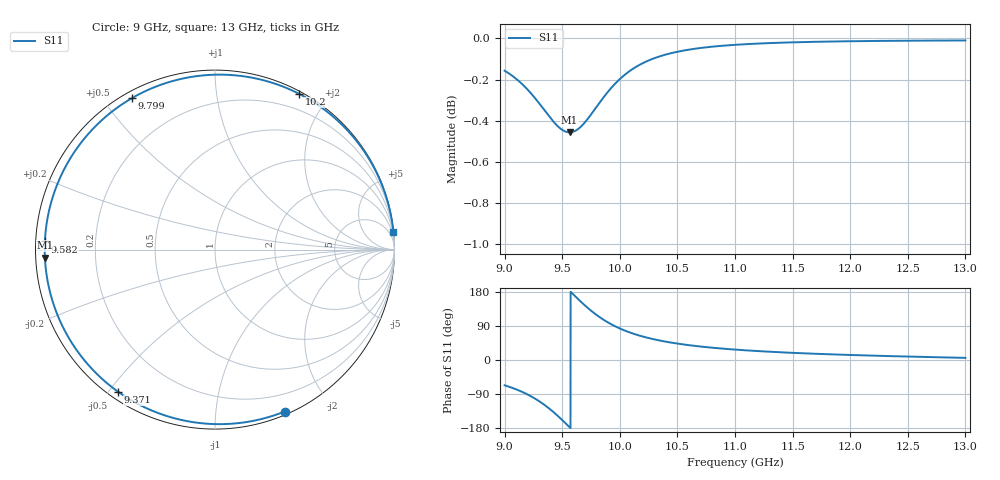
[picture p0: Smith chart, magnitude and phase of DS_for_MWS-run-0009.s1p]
! TOUCHSTONE file generated by CST DESIGN STUDIO
! Date and time: Tue Feb  4 17:55:26 2025
! Project name: C:\Work\MatlabApps\UnitCellOptimizationMatlab\CST\unitcell.cst
! Tree item: Tasks\Sweep1\SPara1\S-Parameters
! Header version: 2024
! Port assignment regex: !\s*Touchstone port\s*([0-9]+)\s*=\s*(CST MWS port|CST DES external port|CST DES block port)\s*(.+)\s* \(\"(.*)\"\)(\s*mode\s*([0-9]+))?.*
! Touchstone port assignment:
! Touchstone port 1 = CST DES external port 1 ("")
# GHz S MA R 50
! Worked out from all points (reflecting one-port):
!   4001 points, 9 GHz to 13 GHz, reference 50 ohm
!   lowest |S11| = -0.5 dB at 9.564 GHz (marker M1), VSWR 38.05, Z = 1.31 - j1.16 ohm
!   phase of S11 starts at -67 deg and turns -288 deg over the sweep
!   S11 on the Smith chart (normalised r, x): 9 GHz: 0.03, -1.52; 9.371 GHz: 0.03, -0.53; 9.582 GHz: 0.03, +0.02; 9.799 GHz: 0.03, +0.59; 10.2 GHz: 0.03, +1.67; 13 GHz: 0, +20
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9  0.9821 -66.7
9.042  0.9804 -70.9
9.109  0.9772 -78.5
9.223  0.9702 -94.8
9.301  0.9642 -109.0
9.371  0.9586 -124.2
9.434  0.9538 -140.0
9.5  0.9501 -158.4
9.533  0.9491 -168.1
9.564  0.9488 -177.3
9.582  0.9489 177.3
9.637  0.9505 161.0
9.698  0.9542 143.7
9.748  0.9581 130.7
9.799  0.9625 118.7
9.843  0.9662 109.3
9.89  0.97 100.4
10  0.9775 83.2
10.097  0.9824 71.6
10.202  0.9863 61.7
10.339  0.9899 51.9
10.5  0.9926 43.3
10.721  0.9948 34.9
11  0.9964 27.5
11.5  0.9978 18.9
12  0.9984 13.3
12.5  0.9987 9.1
13  0.9989 5.7
